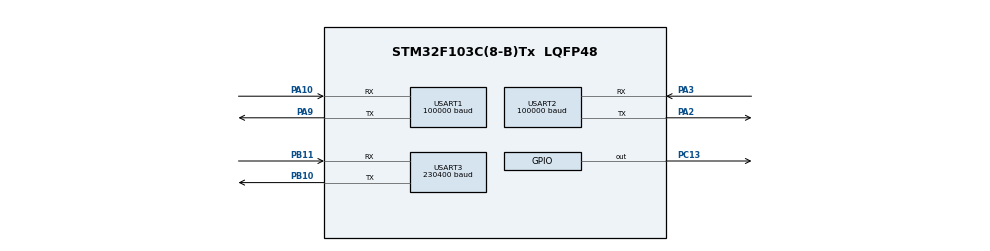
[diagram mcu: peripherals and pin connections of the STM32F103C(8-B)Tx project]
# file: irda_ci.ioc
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Dma.Request0=USART2_RX
Dma.USART2_RX.0.Direction=DMA_PERIPH_TO_MEMORY
Dma.USART2_RX.0.Instance=DMA1_Channel6
Dma.USART2_RX.0.MemDataAlignment=DMA_MDATAALIGN_BYTE
Dma.USART2_RX.0.MemInc=DMA_MINC_ENABLE
Dma.USART2_RX.0.Mode=DMA_CIRCULAR
Dma.USART2_RX.0.PeriphDataAlignment=DMA_PDATAALIGN_BYTE
Dma.USART2_RX.0.PeriphInc=DMA_PINC_DISABLE
Dma.USART2_RX.0.Priority=DMA_PRIORITY_LOW
Mcu.Family=STM32F1
Mcu.Name=STM32F103C(8-B)Tx
Mcu.Package=LQFP48
NVIC.DMA1_Channel6_IRQn=true\:0\:0\:false\:false\:true\:false\:true
NVIC.PriorityGroup=NVIC_PRIORITYGROUP_4
NVIC.USART1_IRQn=true\:0\:0\:false\:false\:true\:true\:true
NVIC.USART2_IRQn=true\:0\:0\:false\:false\:true\:true\:true
NVIC.USART3_IRQn=true\:0\:0\:false\:false\:true\:true\:true
PA10.Mode=IrDA
PA10.Signal=USART1_RX
PA13.Mode=Serial_Wire
PA13.Signal=SYS_JTMS-SWDIO
PA14.Mode=Serial_Wire
PA14.Signal=SYS_JTCK-SWCLK
PA2.Mode=IrDA
PA2.Signal=USART2_TX
PA3.Mode=IrDA
PA3.Signal=USART2_RX
PA9.Mode=IrDA
PA9.Signal=USART1_TX
PB10.Mode=Asynchronous
PB10.Signal=USART3_TX
PB11.Mode=Asynchronous
PB11.Signal=USART3_RX
PC13-TAMPER-RTC.Signal=GPIO_Output
PD0-OSC_IN.Mode=HSE-External-Oscillator
PD0-OSC_IN.Signal=RCC_OSC_IN
PD1-OSC_OUT.Mode=HSE-External-Oscillator
PD1-OSC_OUT.Signal=RCC_OSC_OUT
ProjectManager.HeapSize=0x200
ProjectManager.StackSize=0x400
ProjectManager.TargetToolchain=STM32CubeIDE
RCC.APB1Freq_Value=8000000
RCC.APB2Freq_Value=8000000
USART1.BaudRate=100000
USART1.Mode=MODE_TX
USART1.Parity=PARITY_EVEN
USART1.VirtualMode=VM_IRDA
USART1.WordLength=WORDLENGTH_9B
USART2.BaudRate=100000
USART2.Mode=MODE_RX
USART2.Parity=PARITY_EVEN
USART2.VirtualMode=VM_IRDA
USART2.WordLength=WORDLENGTH_9B
USART3.BaudRate=230400
USART3.VirtualMode=VM_ASYNC
board=custom

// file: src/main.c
/* USER CODE BEGIN Header */
/**
  ******************************************************************************
  * @file           : main.c
  * @brief          : Main program body
  ******************************************************************************
  * @attention
  *
  * <h2><center>&copy; Copyright (c) 2022 STMicroelectronics.
  * All rights reserved.</center></h2>
  *
  * This software component is licensed by ST under BSD 3-Clause license,
  * the "License"; You may not use this file except in compliance with the
  * License. You may obtain a copy of the License at:
  *                        opensource.org/licenses/BSD-3-Clause
  *
  ******************************************************************************
  */
/* USER CODE END Header */
#include "main.h"

IRDA_HandleTypeDef hirda1;
IRDA_HandleTypeDef hirda2;
UART_HandleTypeDef huart3;
DMA_HandleTypeDef hdma_usart2_rx;

/* USER CODE BEGIN PV */
uint8_t rxData[10], rxBuf[10], txBuf[10], serBuf[10];
volatile uint32_t rxFlag = 0, tick = 0;

/* USER CODE END PV */

void SystemClock_Config(void);
static void MX_GPIO_Init(void);
static void MX_USART1_IRDA_Init(void);
static void MX_DMA_Init(void);
static void MX_USART2_IRDA_Init(void);
static void MX_USART3_UART_Init(void);

/* USER CODE BEGIN 0 */

uint8_t bitOrder(uint8_t x){
	uint8_t y = 0;
	if (x&1) y+=128;
	if (x&2) y+=64;
	if (x&4) y+=32;
	if (x&8) y+=16;
	if (x&16) y+=8;
	if (x&32) y+=4;
	if (x&64) y+=2;
	if (x&128) y+=1;
	return y;
}

void HAL_IRDA_RxCpltCallback(IRDA_HandleTypeDef *hirda)
{
  HAL_IRDA_Receive_IT(&hirda2, rxData, 1);
	rxFlag = 1;
}

uint8_t getCRC8(const uint8_t *data, size_t len)
{
    uint8_t remainder = 0;

    for (int i = 0; i < len; i++)
    {
        remainder ^= *data++;

        for (uint8_t j = 8; j > 0; j--)
        {
            if (remainder & (1 << 7))
            {
                remainder = (remainder << 1) ^ 0x07; // POLYNOMIAL for standard CRC-8
            }
            else
            {
                remainder = (remainder << 1);
            }
        }
    }

    return (remainder);
}

/* USER CODE END 0 */

int main(void)
{

  /* MCU Configuration--------------------------------------------------------*/

  /* Reset of all peripherals, Initializes the Flash interface and the Systick. */
  HAL_Init();

  /* Configure the system clock */
  SystemClock_Config();

  /* Initialize all configured peripherals */
  MX_GPIO_Init();
  MX_USART1_IRDA_Init();
  MX_DMA_Init();
  MX_USART2_IRDA_Init();
  MX_USART3_UART_Init();
  /* USER CODE BEGIN 2 */
	HAL_IRDA_Receive_IT(&hirda2, rxData, 1);
	txBuf[0] = 0x37;
	txBuf[1] = 0x34;
	txBuf[2] = 0x25;
	txBuf[3] = getCRC8(txBuf, 3);

	txBuf[0] = bitOrder(txBuf[0]);
	txBuf[1] = bitOrder(txBuf[1]);
	txBuf[2] = bitOrder(txBuf[2]);
	txBuf[3] = bitOrder(txBuf[3]);

  /* USER CODE END 2 */

  /* Infinite loop */
  /* USER CODE BEGIN WHILE */
  while (1)
  {
		if ((uwTick - tick) > 100){
			tick = uwTick;
			HAL_IRDA_Transmit_IT(&hirda1, txBuf, 4);
		}
		if (rxFlag == 1){
			rxFlag = 0;
			rxBuf[0] = rxBuf[1];
			rxBuf[1] = rxBuf[2];
			rxBuf[2] = rxBuf[3];
			rxBuf[3] = bitOrder(rxData[0]);

			if (getCRC8(rxBuf, 3) == rxBuf[3]){
				serBuf[0] = rxBuf[0];
				serBuf[1] = rxBuf[1];
				serBuf[2] = rxBuf[2];
				serBuf[3] = rxBuf[3];
				HAL_UART_Transmit_IT(&huart3, serBuf, 4);
				HAL_GPIO_TogglePin(GPIOC, GPIO_PIN_13);
			}
		}

    /* USER CODE END WHILE */

  }
}

void SystemClock_Config(void)
{
  RCC_OscInitTypeDef RCC_OscInitStruct = {0};
  RCC_ClkInitTypeDef RCC_ClkInitStruct = {0};

  /** Initializes the RCC Oscillators according to the specified parameters
  * in the RCC_OscInitTypeDef structure.
  */
  RCC_OscInitStruct.OscillatorType = RCC_OSCILLATORTYPE_HSI;
  RCC_OscInitStruct.HSIState = RCC_HSI_ON;
  RCC_OscInitStruct.HSICalibrationValue = RCC_HSICALIBRATION_DEFAULT;
  RCC_OscInitStruct.PLL.PLLState = RCC_PLL_NONE;
  if (HAL_RCC_OscConfig(&RCC_OscInitStruct) != HAL_OK)
  {
    Error_Handler();
  }
  /** Initializes the CPU, AHB and APB buses clocks
  */
  RCC_ClkInitStruct.ClockType = RCC_CLOCKTYPE_HCLK|RCC_CLOCKTYPE_SYSCLK
                              |RCC_CLOCKTYPE_PCLK1|RCC_CLOCKTYPE_PCLK2;
  RCC_ClkInitStruct.SYSCLKSource = RCC_SYSCLKSOURCE_HSI;
  RCC_ClkInitStruct.AHBCLKDivider = RCC_SYSCLK_DIV1;
  RCC_ClkInitStruct.APB1CLKDivider = RCC_HCLK_DIV1;
  RCC_ClkInitStruct.APB2CLKDivider = RCC_HCLK_DIV1;

  if (HAL_RCC_ClockConfig(&RCC_ClkInitStruct, FLASH_LATENCY_0) != HAL_OK)
  {
    Error_Handler();
  }
}

static void MX_USART1_IRDA_Init(void)
{

  hirda1.Instance = USART1;
  hirda1.Init.BaudRate = 100000;
  hirda1.Init.WordLength = IRDA_WORDLENGTH_9B;
  hirda1.Init.Parity = IRDA_PARITY_EVEN;
  hirda1.Init.Mode = IRDA_MODE_TX;
  hirda1.Init.Prescaler = 1;
  hirda1.Init.IrDAMode = IRDA_POWERMODE_NORMAL;
  if (HAL_IRDA_Init(&hirda1) != HAL_OK)
  {
    Error_Handler();
  }

}

static void MX_USART2_IRDA_Init(void)
{

  hirda2.Instance = USART2;
  hirda2.Init.BaudRate = 100000;
  hirda2.Init.WordLength = IRDA_WORDLENGTH_9B;
  hirda2.Init.Parity = IRDA_PARITY_EVEN;
  hirda2.Init.Mode = IRDA_MODE_RX;
  hirda2.Init.Prescaler = 1;
  hirda2.Init.IrDAMode = IRDA_POWERMODE_NORMAL;
  if (HAL_IRDA_Init(&hirda2) != HAL_OK)
  {
    Error_Handler();
  }

}

static void MX_USART3_UART_Init(void)
{

  huart3.Instance = USART3;
  huart3.Init.BaudRate = 230400;
  huart3.Init.WordLength = UART_WORDLENGTH_8B;
  huart3.Init.StopBits = UART_STOPBITS_1;
  huart3.Init.Parity = UART_PARITY_NONE;
  huart3.Init.Mode = UART_MODE_TX_RX;
  huart3.Init.HwFlowCtl = UART_HWCONTROL_NONE;
  huart3.Init.OverSampling = UART_OVERSAMPLING_16;
  if (HAL_UART_Init(&huart3) != HAL_OK)
  {
    Error_Handler();
  }

}

static void MX_DMA_Init(void)
{

  /* DMA controller clock enable */
  __HAL_RCC_DMA1_CLK_ENABLE();

  /* DMA interrupt init */
  /* DMA1_Channel6_IRQn interrupt configuration */
  HAL_NVIC_SetPriority(DMA1_Channel6_IRQn, 0, 0);
  HAL_NVIC_EnableIRQ(DMA1_Channel6_IRQn);

}

static void MX_GPIO_Init(void)
{
  GPIO_InitTypeDef GPIO_InitStruct = {0};

  /* GPIO Ports Clock Enable */
  __HAL_RCC_GPIOC_CLK_ENABLE();
  __HAL_RCC_GPIOD_CLK_ENABLE();
  __HAL_RCC_GPIOA_CLK_ENABLE();
  __HAL_RCC_GPIOB_CLK_ENABLE();

  /*Configure GPIO pin Output Level */
  HAL_GPIO_WritePin(GPIOC, GPIO_PIN_13, GPIO_PIN_RESET);

  /*Configure GPIO pin : PC13 */
  GPIO_InitStruct.Pin = GPIO_PIN_13;
  GPIO_InitStruct.Mode = GPIO_MODE_OUTPUT_PP;
  GPIO_InitStruct.Pull = GPIO_NOPULL;
  GPIO_InitStruct.Speed = GPIO_SPEED_FREQ_LOW;
  HAL_GPIO_Init(GPIOC, &GPIO_InitStruct);

}

void Error_Handler(void)
{
  __disable_irq();
  while (1)
  {
  }
}

/************************ (C) COPYRIGHT STMicroelectronics *****END OF FILE****/
